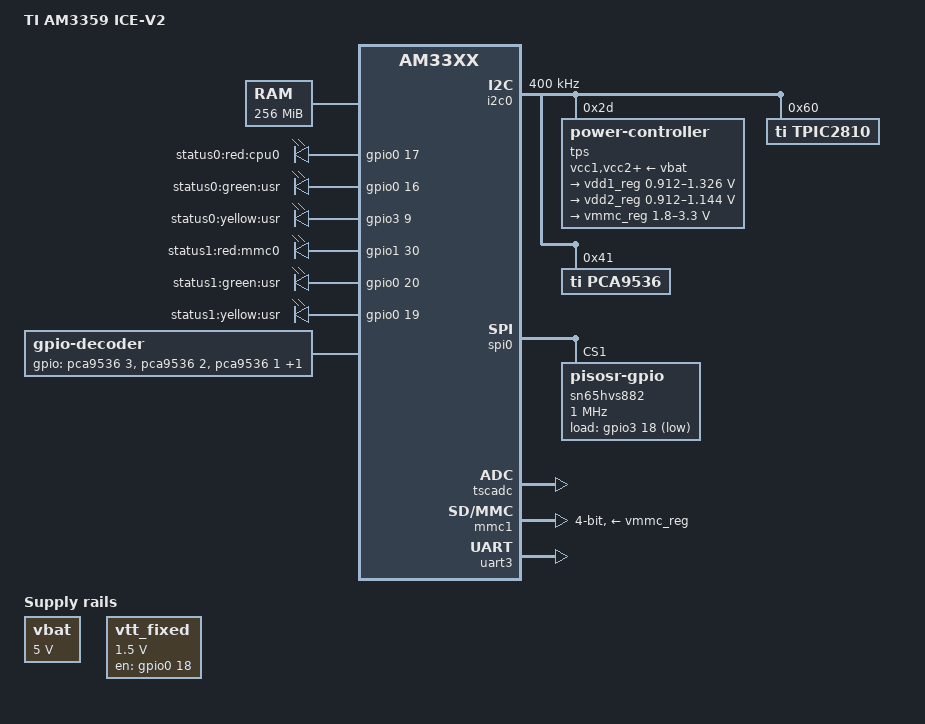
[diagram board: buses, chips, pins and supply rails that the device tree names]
/*
 * Copyright (C) 2016 Texas Instruments Incorporated - http://www.ti.com/
 *
 * This program is free software; you can redistribute it and/or modify
 * it under the terms of the GNU General Public License version 2 as
 * published by the Free Software Foundation.
 */

/*
 * AM335x ICE V2 board
 * http://www.ti.com/tool/tmdsice3359
 */

/dts-v1/;

#include "am33xx.dtsi"

/ {
	model = "TI AM3359 ICE-V2";
	compatible = "ti,am3359-icev2", "ti,am33xx";

	memory@80000000 {
		device_type = "memory";
		reg = <0x80000000 0x10000000>; /* 256 MB */
	};

	chosen {
		stdout-path = &uart3;
	};

	vbat: fixedregulator0 {
		compatible = "regulator-fixed";
		regulator-name = "vbat";
		regulator-min-microvolt = <5000000>;
		regulator-max-microvolt = <5000000>;
		regulator-boot-on;
	};

	vtt_fixed: fixedregulator1 {
		compatible = "regulator-fixed";
		regulator-name = "vtt";
		regulator-min-microvolt = <1500000>;
		regulator-max-microvolt = <1500000>;
		gpio = <&gpio0 18 GPIO_ACTIVE_HIGH>;
		regulator-always-on;
		regulator-boot-on;
		enable-active-high;
	};

	leds-iio {
		status = "disabled";
		compatible = "gpio-leds";
		led-out0 {
			label = "out0";
			gpios = <&tpic2810 0 GPIO_ACTIVE_HIGH>;
			default-state = "off";
		};

		led-out1 {
			label = "out1";
			gpios = <&tpic2810 1 GPIO_ACTIVE_HIGH>;
			default-state = "off";
		};

		led-out2 {
			label = "out2";
			gpios = <&tpic2810 2 GPIO_ACTIVE_HIGH>;
			default-state = "off";
		};

		led-out3 {
			label = "out3";
			gpios = <&tpic2810 3 GPIO_ACTIVE_HIGH>;
			default-state = "off";
		};

		led-out4 {
			label = "out4";
			gpios = <&tpic2810 4 GPIO_ACTIVE_HIGH>;
			default-state = "off";
		};

		led-out5 {
			label = "out5";
			gpios = <&tpic2810 5 GPIO_ACTIVE_HIGH>;
			default-state = "off";
		};

		led-out6 {
			label = "out6";
			gpios = <&tpic2810 6 GPIO_ACTIVE_HIGH>;
			default-state = "off";
		};

		led-out7 {
			label = "out7";
			gpios = <&tpic2810 7 GPIO_ACTIVE_HIGH>;
			default-state = "off";
		};
	};

	/* Tricolor status LEDs */
	leds1 {
		compatible = "gpio-leds";
		pinctrl-names = "default";
		pinctrl-0 = <&user_leds>;

		led0 {
			label = "status0:red:cpu0";
			gpios = <&gpio0 17 GPIO_ACTIVE_HIGH>;
			default-state = "off";
			linux,default-trigger = "cpu0";
		};

		led1 {
			label = "status0:green:usr";
			gpios = <&gpio0 16 GPIO_ACTIVE_HIGH>;
			default-state = "off";
		};

		led2 {
			label = "status0:yellow:usr";
			gpios = <&gpio3 9 GPIO_ACTIVE_HIGH>;
			default-state = "off";
		};

		led3 {
			label = "status1:red:mmc0";
			gpios = <&gpio1 30 GPIO_ACTIVE_HIGH>;
			default-state = "off";
			linux,default-trigger = "mmc0";
		};

		led4 {
			label = "status1:green:usr";
			gpios = <&gpio0 20 GPIO_ACTIVE_HIGH>;
			default-state = "off";
		};

		led5 {
			label = "status1:yellow:usr";
			gpios = <&gpio0 19 GPIO_ACTIVE_HIGH>;
			default-state = "off";
		};
	};
	gpio-decoder {
		compatible = "gpio-decoder";
		gpios = <&pca9536 3 GPIO_ACTIVE_HIGH>,
			<&pca9536 2 GPIO_ACTIVE_HIGH>,
			<&pca9536 1 GPIO_ACTIVE_HIGH>,
			<&pca9536 0 GPIO_ACTIVE_HIGH>;
		linux,axis = <0>; /* ABS_X */
		decoder-max-value = <9>;
	};
};

&am33xx_pinmux {
	user_leds: user_leds {
		pinctrl-single,pins = <
			AM33XX_IOPAD(0x91c, PIN_OUTPUT | MUX_MODE7) /* (J18) gmii1_txd3.gpio0[16] */
			AM33XX_IOPAD(0x920, PIN_OUTPUT | MUX_MODE7) /* (K15) gmii1_txd2.gpio0[17] */
			AM33XX_IOPAD(0x9b0, PIN_OUTPUT | MUX_MODE7) /* (A15) xdma_event_intr0.gpio0[19] */
			AM33XX_IOPAD(0x9b4, PIN_OUTPUT | MUX_MODE7) /* (D14) xdma_event_intr1.gpio0[20] */
			AM33XX_IOPAD(0x880, PIN_OUTPUT | MUX_MODE7) /* (U9) gpmc_csn1.gpio1[30] */
			AM33XX_IOPAD(0x92c, PIN_OUTPUT | MUX_MODE7) /* (K18) gmii1_txclk.gpio3[9] */
		>;
	};

	mmc0_pins_default: mmc0_pins_default {
		pinctrl-single,pins = <
			AM33XX_IOPAD(0x8f0, PIN_INPUT_PULLUP | MUX_MODE0) /* (F17) mmc0_dat3.mmc0_dat3 */
			AM33XX_IOPAD(0x8f4, PIN_INPUT_PULLUP | MUX_MODE0) /* (F18) mmc0_dat2.mmc0_dat2 */
			AM33XX_IOPAD(0x8f8, PIN_INPUT_PULLUP | MUX_MODE0) /* (G15) mmc0_dat1.mmc0_dat1 */
			AM33XX_IOPAD(0x8fc, PIN_INPUT_PULLUP | MUX_MODE0) /* (G16) mmc0_dat0.mmc0_dat0 */
			AM33XX_IOPAD(0x900, PIN_INPUT_PULLUP | MUX_MODE0) /* (G17) mmc0_clk.mmc0_clk */
			AM33XX_IOPAD(0x904, PIN_INPUT_PULLUP | MUX_MODE0) /* (G18) mmc0_cmd.mmc0_cmd */
		>;
	};

	i2c0_pins_default: i2c0_pins_default {
		pinctrl-single,pins = <
			AM33XX_IOPAD(0x988, PIN_INPUT | MUX_MODE0) /* (C17) I2C0_SDA.I2C0_SDA */
			AM33XX_IOPAD(0x98c, PIN_INPUT | MUX_MODE0) /* (C16) I2C0_SCL.I2C0_SCL */
		>;
	};

	spi0_pins_default: spi0_pins_default {
		pinctrl-single,pins = <
			AM33XX_IOPAD(0x950, PIN_INPUT_PULLUP | MUX_MODE0) /* (A17) spi0_sclk.spi0_sclk */
			AM33XX_IOPAD(0x954, PIN_INPUT_PULLUP | MUX_MODE0) /* (B17) spi0_d0.spi0_d0 */
			AM33XX_IOPAD(0x958, PIN_INPUT_PULLUP | MUX_MODE0) /* (B16) spi0_d1.spi0_d1 */
			AM33XX_IOPAD(0x95c, PIN_INPUT_PULLUP | MUX_MODE0) /* (A16) spi0_cs0.spi0_cs0 */
			AM33XX_IOPAD(0x960, PIN_INPUT_PULLUP | MUX_MODE0) /* (C15) spi0_cs1.spi0_cs1 */
			AM33XX_IOPAD(0x9a0, PIN_INPUT_PULLUP | MUX_MODE7) /* (B12) mcasp0_aclkr.gpio3[18] */
		>;
	};

	uart3_pins_default: uart3_pins_default {
		pinctrl-single,pins = <
			AM33XX_IOPAD(0x934, PIN_INPUT_PULLUP | MUX_MODE1) /* (L17) gmii1_rxd3.uart3_rxd */
			AM33XX_IOPAD(0x938, PIN_OUTPUT_PULLUP | MUX_MODE1) /* (L16) gmii1_rxd2.uart3_txd */
		>;
	};
};

&i2c0 {
	pinctrl-names = "default";
	pinctrl-0 = <&i2c0_pins_default>;

	status = "okay";
	clock-frequency = <400000>;

	tps: power-controller@2d {
		reg = <0x2d>;
	};

	tpic2810: gpio@60 {
		compatible = "ti,tpic2810";
		reg = <0x60>;
		gpio-controller;
		#gpio-cells = <2>;
	};

	pca9536: gpio@41 {
		compatible = "ti,pca9536";
		reg = <0x41>;
		gpio-controller;
		#gpio-cells = <2>;
	};
};

&spi0 {
	status = "okay";
	pinctrl-names = "default";
	pinctrl-0 = <&spi0_pins_default>;

	sn65hvs882@1 {
		compatible = "pisosr-gpio";
		gpio-controller;
		#gpio-cells = <2>;

		load-gpios = <&gpio3 18 GPIO_ACTIVE_LOW>;

		reg = <1>;
		spi-max-frequency = <1000000>;
		spi-cpol;
	};
};

&tscadc {
	status = "okay";
	adc {
		ti,adc-channels = <1 2 3 4 5 6 7>;
	};
};

#include "tps65910.dtsi"

&tps {
	vcc1-supply = <&vbat>;
	vcc2-supply = <&vbat>;
	vcc3-supply = <&vbat>;
	vcc4-supply = <&vbat>;
	vcc5-supply = <&vbat>;
	vcc6-supply = <&vbat>;
	vcc7-supply = <&vbat>;
	vccio-supply = <&vbat>;

	regulators {
		vrtc_reg: regulator@0 {
			regulator-always-on;
		};

		vio_reg: regulator@1 {
			regulator-always-on;
		};

		vdd1_reg: regulator@2 {
			regulator-name = "vdd_mpu";
			regulator-min-microvolt = <912500>;
			regulator-max-microvolt = <1326000>;
			regulator-boot-on;
			regulator-always-on;
		};

		vdd2_reg: regulator@3 {
			regulator-name = "vdd_core";
			regulator-min-microvolt = <912500>;
			regulator-max-microvolt = <1144000>;
			regulator-boot-on;
			regulator-always-on;
		};

		vdd3_reg: regulator@4 {
			regulator-always-on;
		};

		vdig1_reg: regulator@5 {
			regulator-always-on;
		};

		vdig2_reg: regulator@6 {
			regulator-always-on;
		};

		vpll_reg: regulator@7 {
			regulator-always-on;
		};

		vdac_reg: regulator@8 {
			regulator-always-on;
		};

		vaux1_reg: regulator@9 {
			regulator-always-on;
		};

		vaux2_reg: regulator@10 {
			regulator-always-on;
		};

		vaux33_reg: regulator@11 {
			regulator-always-on;
		};

		vmmc_reg: regulator@12 {
			regulator-min-microvolt = <1800000>;
			regulator-max-microvolt = <3300000>;
			regulator-always-on;
		};
	};
};

&mmc1 {
	status = "okay";
	vmmc-supply = <&vmmc_reg>;
	bus-width = <4>;
	pinctrl-names = "default";
	pinctrl-0 = <&mmc0_pins_default>;
};

&gpio0 {
	/* Do not idle the GPIO used for holding the VTT regulator */
	ti,no-reset-on-init;
	ti,no-idle-on-init;
};

&uart3 {
	pinctrl-names = "default";
	pinctrl-0 = <&uart3_pins_default>;
	status = "okay";
};
